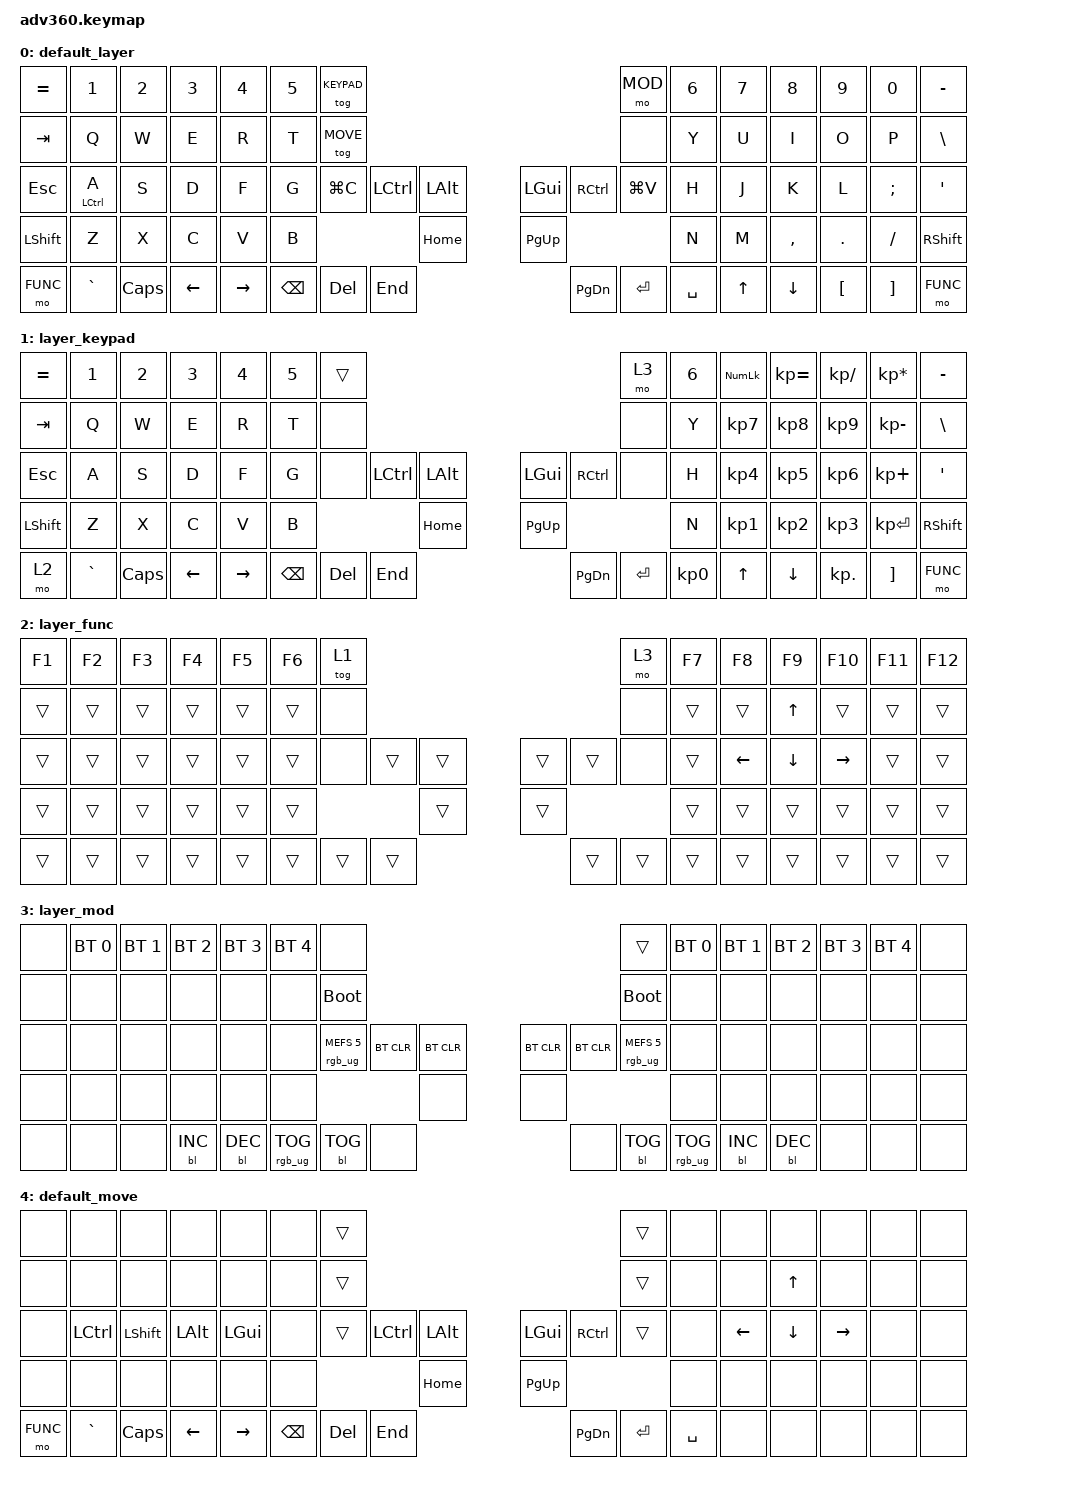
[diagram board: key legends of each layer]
#include <behaviors.dtsi>
#include <dt-bindings/zmk/keys.h>
#include <dt-bindings/zmk/bt.h>
#include <dt-bindings/zmk/rgb.h>
#include <dt-bindings/zmk/backlight.h>

#define PRIMARY 0
#define KEYPAD 1
#define FUNC 2
#define MOD 3
#define MOVE 4


#define BLANK &none
#define TRANS &trans

/ {
    behaviors {
      #include "macros.dtsi"

      hm: homerow_mods {
          compatible = "zmk,behavior-hold-tap";
          label = "HOMEROW_MODS";
          #binding-cells = <2>;
          tapping-term-ms = <200>;
          quick_tap_ms = <175>;
          flavor = "tap-preferred";
          bindings = <&kp>, <&kp>;
      };

      gqt: global-quick-tap {
          compatible = "zmk,behavior-hold-tap";
          label = "GLOBAL_QUICK_TAP";
          #binding-cells = <2>;
          flavor = "tap-preferred";
          tapping-term-ms = <200>;
          quick-tap-ms = <125>;
          global-quick-tap;
          bindings = <&kp>, <&kp>;
      };
    };

  keymap {
    compatible = "zmk,keymap";

    default_layer {
      bindings = <
        /*──────────────┬──────────────┬──────────────┬──────────────┬──────────────┬──────────────┬──────────────┬                                                                                                               ┬──────────────┬──────────────┬──────────────┬──────────────┬──────────────┬──────────────┬──────────────*/
        /*    =         │     1        │     2        │     3        │     4        │    5         │     KP       │                                                                                                               │    Mod       │    6         │    7         │    8         │    9         │     0        │    -         |*/      
           &kp EQUAL      &kp N1         &kp N2         &kp N3         &kp N4         &kp N5         &tog KEYPAD                                                                                                                    &mo MOD        &kp N6         &kp N7         &kp N8         &kp N9         &kp N0         &kp MINUS
        /*──────────────┬──────────────┬──────────────┬──────────────┬──────────────┬──────────────┬──────────────┬                                                                                                               ┬──────────────┬──────────────┬──────────────┬──────────────┬──────────────┬──────────────┬──────────────*/
        /*|  Tab        │     Q        │    W         │     E        │     R        │    T         │     O1       │                                                                                                               │    O3        │    Y         │    U         │    I         │    O         │     P        │   \          |*/   
           &kp TAB        &kp Q          &kp W          &kp E          &kp R          &kp T          &tog MOVE                                                                                                                      BLANK          &kp Y          &kp U          &kp I          &kp O          &kp P          &kp BSLH
        /*──────────────┬──────────────┬──────────────┬──────────────┬──────────────┬──────────────┬──────────────┬               ┬──────────────┬──────────────┬                   ┬──────────────┬──────────────┬               ┬──────────────┬──────────────┬──────────────┬──────────────┬──────────────┬──────────────┬──────────────*/
        /*|   ESC       │     A        │    S         │     D        │     F        │    G         │    O2        │               |   LCTRL      |   LALT       |                   |   LGUI       |   RCTRL      |               │    O4        │    H         │    J         │    K         │    L         │     ;        │     '        |*/
           &kp ESC        &gqt LCTRL A   &kp S          &kp D          &kp F          &kp G          &kp LG(C)                      &kp LCTRL      &kp LALT                           &kp LGUI   &kp RCTRL                          &kp LG(V)      &kp H          &kp J          &kp K          &kp L          &kp SEMI       &kp SQT
        /*──────────────┬──────────────┬──────────────┬──────────────┬──────────────┬──────────────┬               ┬──────────────┬──────────────┬──────────────┬                   ┬──────────────┬──────────────┬──────────────┬               ┬──────────────┬──────────────┬──────────────┬──────────────┬──────────────┬──────────────*/
        /*|  LSHFT      │     Z        │    X         │     C        │     V        │    B         │               │              │              │   HOME       │                   │   PG_UP      │              │              │               │    N         │    M         │     ,        │    .         │     ?        |  Shift   |*/
           &kp LSHFT      &kp Z          &kp X          &kp C          &kp V          &kp B                                                        &kp HOME                           &kp PG_UP                                                    &kp N          &kp M          &kp COMMA      &kp DOT        &kp FSLH       &kp RSHFT
        /*──────────────┬──────────────┬──────────────┬──────────────┬──────────────┬                              ┬              ┬              ┬──────────────┬                   ┬──────────────┬              ┬              ┬                              ┬──────────────┬──────────────┬──────────────┬──────────────┬──────────────*/
        /*|  MOD        │  GRAVE       │   CAPS       │   LEFT       │  RIGHT       │                              │   BPSE       │    DEL       │   END        │                   │  PG_DN       │   ENTER      │  SPACE       │                              │    UP        │  DOWN        │  LBKT        │   RBKT       │   MOD        |*/
           &mo FUNC       &kp GRAVE      &kp CAPS       &kp LEFT       &kp RIGHT                                     &kp BSPC       &kp DEL        &kp END                           &kp PG_DN       &kp ENTER      &kp SPACE                                     &kp UP         &kp DOWN       &kp LBKT       &kp RBKT       &mo FUNC
      >;
    };
    layer_keypad {
      bindings = < 
        &kp EQUAL &kp N1    &kp N2   &kp N3   &kp N4     &kp N5 &trans                                                                       &mo 3 &kp N6 &kp KP_NUM &kp KP_EQUAL &kp KP_DIVIDE &kp KP_MULTIPLY &kp MINUS
        &kp TAB   &kp Q     &kp W    &kp E    &kp R      &kp T  &none                                                                        &none &kp Y  &kp KP_N7  &kp KP_N8    &kp KP_N9     &kp KP_MINUS    &kp BSLH
        &kp ESC   &kp A     &kp S    &kp D    &kp F      &kp G  &none           &kp LCTRL &kp LALT             &kp LGUI  &kp RCTRL           &none &kp H  &kp KP_N4  &kp KP_N5    &kp KP_N6     &kp KP_PLUS     &kp SQT
        &kp LSHFT &kp Z     &kp X    &kp C    &kp V      &kp B                            &kp HOME             &kp PG_UP                           &kp N  &kp KP_N1  &kp KP_N2    &kp KP_N3     &kp KP_ENTER    &kp RSHFT
        &mo 2     &kp GRAVE &kp CAPS &kp LEFT &kp RIGHT                &kp BSPC &kp DEL   &kp END              &kp PG_DN &kp ENTER &kp KP_N0              &kp UP     &kp DOWN     &kp KP_DOT    &kp RBKT        &mo FUNC
      >;
    };
    layer_func {
      bindings = <
        &kp F1 &kp F2 &kp F3 &kp F4 &kp F5 &kp F6 &tog 1                                                       &mo 3 &kp F7 &kp F8 &kp F9 &kp F10 &kp F11 &kp F12
        &trans &trans &trans &trans &trans &trans  &none                                                       &none &trans &trans &kp UP &trans  &trans  &trans
        &trans &trans &trans &trans &trans &trans  &none        &trans &trans             &trans &trans        &none &trans &kp LEFT &kp DOWN &kp RIGHT  &trans  &trans
        &trans &trans &trans &trans &trans &trans                      &trans             &trans                     &trans &trans &trans &trans  &trans  &trans
        &trans &trans &trans &trans &trans               &trans &trans &trans             &trans &trans &trans              &trans &trans &trans  &trans  &trans
      >;
    };
    layer_mod {
      bindings = <
        &none &bt BT_SEL 0 &bt BT_SEL 1 &bt BT_SEL 2 &bt BT_SEL 3 &bt BT_SEL 4 &none                                                                                                          &trans                 &bt BT_SEL 0 &bt BT_SEL 1 &bt BT_SEL 2 &bt BT_SEL 3 &bt BT_SEL 4 &none
        &none &none        &none        &none        &none        &none        &bootloader                                                                                                    &bootloader            &none        &none        &none        &none        &none        &none
        &none &none        &none        &none        &none        &none        &rgb_ug RGB_MEFS_CMD 5                 &bt BT_CLR &bt BT_CLR             &bt BT_CLR &bt BT_CLR                 &rgb_ug RGB_MEFS_CMD 5 &none        &none        &none        &none        &none        &none
        &none &none        &none        &none        &none        &none                                                          &none                  &none                                                        &none        &none        &none        &none        &none        &none
        &none &none        &none        &bl BL_INC   &bl BL_DEC                                       &rgb_ug RGB_TOG &bl BL_TOG &none                  &none      &bl BL_TOG &rgb_ug RGB_TOG                                     &bl BL_INC   &bl BL_DEC   &none        &none        &none
      >;
    };
    default_move {
      bindings = <
        /*──────────────┬──────────────┬──────────────┬──────────────┬──────────────┬──────────────┬──────────────┬                                                                                                               ┬──────────────┬──────────────┬──────────────┬──────────────┬──────────────┬──────────────┬──────────────*/
        /*    =         │     1        │     2        │     3        │     4        │    5         │     KP       │                                                                                                               │    Mod       │    6         │    7         │    8         │    9         │     0        │    -         |*/      
           BLANK          BLANK          BLANK          BLANK          BLANK          BLANK          TRANS                                                                                                                          TRANS          BLANK          BLANK          BLANK          BLANK          BLANK          BLANK
        /*──────────────┬──────────────┬──────────────┬──────────────┬──────────────┬──────────────┬──────────────┬                                                                                                               ┬──────────────┬──────────────┬──────────────┬──────────────┬──────────────┬──────────────┬──────────────*/
        /*|  Tab        │     Q        │    W         │     E        │     R        │    T         │     O1       │                                                                                                               │    O3        │    Y         │    U         │    I         │    O         │     P        │   \          |*/   
           BLANK          BLANK          BLANK          BLANK          BLANK          BLANK          TRANS                                                                                                                          TRANS          BLANK          BLANK          &kp UP         BLANK          BLANK          BLANK
        /*──────────────┬──────────────┬──────────────┬──────────────┬──────────────┬──────────────┬──────────────┬               ┬──────────────┬──────────────┬                   ┬──────────────┬──────────────┬               ┬──────────────┬──────────────┬──────────────┬──────────────┬──────────────┬──────────────┬──────────────*/
        /*|   ESC       │     A        │    S         │     D        │     F        │    G         │    O2        │               |   LCTRL      |   LALT       |                   |   LGUI       |   RCTRL      |               │    O4        │    H         │    J         │    K         │    L         │     ;        │     '        |*/
           BLANK          &kp LCTRL      &kp LSHFT      &kp LALT       &kp LGUI       BLANK          TRANS                          &kp LCTRL      &kp LALT                           &kp LGUI       &kp RCTRL                      TRANS          BLANK          &kp LEFT       &kp DOWN      &kp RIGHT      BLANK          BLANK
        /*──────────────┬──────────────┬──────────────┬──────────────┬──────────────┬──────────────┬               ┬──────────────┬──────────────┬──────────────┬                   ┬──────────────┬──────────────┬──────────────┬               ┬──────────────┬──────────────┬──────────────┬──────────────┬──────────────┬──────────────*/
        /*|  LSHFT      │     Z        │    X         │     C        │     V        │    B         │               │              │              │   HOME       │                   │   PG_UP      │              │              │               │    N         │    M         │     ,        │    .         │     ?        |  Shift       |*/
           BLANK          BLANK          BLANK          BLANK          BLANK          BLANK                                                        &kp HOME                           &kp PG_UP                                                    BLANK          BLANK          BLANK          BLANK          BLANK          BLANK
        /*──────────────┬──────────────┬──────────────┬──────────────┬──────────────┬                              ┬              ┬              ┬──────────────┬                   ┬──────────────┬              ┬              ┬                              ┬──────────────┬──────────────┬──────────────┬──────────────┬──────────────*/
        /*|  MOD        │  GRAVE       │   CAPS       │   LEFT       │  RIGHT       │                              │   BPSE       │    DEL       │   END        │                   │  PG_DN       │   ENTER      │  SPACE       │                              │    UP        │  DOWN        │  LBKT        │   RBKT       │   MOD        |*/
           &mo FUNC       &kp GRAVE      &kp CAPS       &kp LEFT       &kp RIGHT                                     &kp BSPC       &kp DEL        &kp END                            &kp PG_DN       &kp ENTER      &kp SPACE                                    BLANK          BLANK          BLANK          BLANK          BLANK
      >;
    };
  };
};
